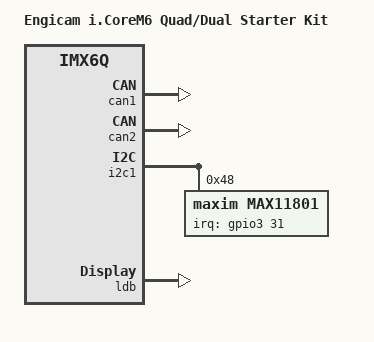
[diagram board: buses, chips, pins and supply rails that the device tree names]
// SPDX-License-Identifier: GPL-2.0 OR X11
/*
 * Copyright (C) 2016 Amarula Solutions B.V.
 * Copyright (C) 2016 Engicam S.r.l.
 */

/dts-v1/;

#include "imx6q.dtsi"
#include "imx6qdl-icore.dtsi"

/ {
	model = "Engicam i.CoreM6 Quad/Dual Starter Kit";
	compatible = "engicam,imx6-icore", "fsl,imx6q";
};

&can1 {
	status = "okay";
};

&can2 {
	status = "okay";
};

&i2c1 {
	max11801: touchscreen@48 {
		compatible = "maxim,max11801";
		reg = <0x48>;
		interrupt-parent = <&gpio3>;
		interrupts = <31 IRQ_TYPE_EDGE_FALLING>;
	};
};

&ldb {
	status = "okay";

	lvds-channel@0 {
		fsl,data-mapping = "spwg";
		fsl,data-width = <18>;
		status = "okay";

		display-timings {
			native-mode = <&timing0>;
			timing0: timing0 {
				clock-frequency = <60000000>;
				hactive = <800>;
				vactive = <480>;
				hback-porch = <30>;
				hfront-porch = <30>;
				vback-porch = <5>;
				vfront-porch = <5>;
				hsync-len = <64>;
				vsync-len = <20>;
			};
		};
	};
};
